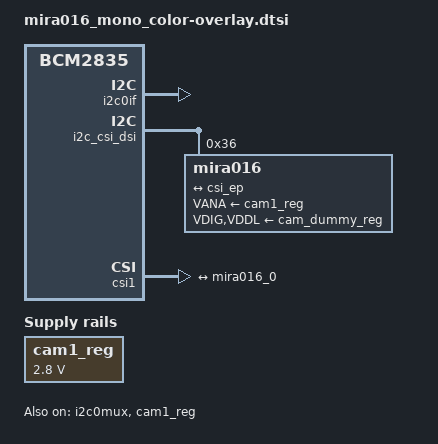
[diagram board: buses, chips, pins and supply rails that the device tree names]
// SPDX-License-Identifier: GPL-2.0-only
// Definitions for MIRA016 camera module on VC I2C bus
/dts-v1/;
/plugin/;

#include <dt-bindings/gpio/gpio.h>

/{
	compatible = "brcm,bcm2835";

	fragment@0 {
		target = <&i2c0if>;
		__overlay__ {
			status = "okay";
		};
	};

	clk_frag: fragment@1 {
		target = <&cam1_clk>;
		__overlay__ {
			status = "okay";
			clock-frequency = <24000000>;
		};
	};

	fragment@2 {
		target = <&i2c0mux>;
		__overlay__ {
			status = "okay";
		};
	};

	fragment@5 {
		target = <&cam1_reg>;
		__overlay__ {
			status = "okay";
			regulator-name = "mira016_vana";
			regulator-min-microvolt = <2800000>;
			regulator-max-microvolt = <2800000>;
		};
	};

	i2c_frag: fragment@100 {
		target = <&i2c_csi_dsi>;
		__overlay__ {
			#address-cells = <1>;
			#size-cells = <0>;
			status = "okay";

			mira016: mira016@36 {
				// compatible = "ams,mira016";
				// I2C addresses (7-bit address)
				// The interface board uses 0x36 by default
				// MIRA016CSP: 0x36; PMIC: 0x2D; INA3221: 0x40; LM2759: 0x53;
				// dsPIC33EP32MC503: 0x0A
				reg = <0x36>;
				// reg-names = "mira016";
				status = "okay";

				//clocks = <&mira016_clk>;
				clocks = <&cam1_clk>;
				clock-names = "xclk";

				// TODO(jalv): Add here camera supplies based on the
				// TPS65912 pmic.
				VANA-supply = <&cam1_reg>;	/* 2.8v */
				VDIG-supply = <&cam_dummy_reg>;	/* 1.8v */
				VDDL-supply = <&cam_dummy_reg>;	/* 1.2v */

				// FIXME(jalv): Make sure orientation is correct
				rotation = <0>;
				orientation = <2>;
				skip-reg-upload = <0>;

				port {
					mira016_0: endpoint {
						remote-endpoint = <&csi_ep>;
						clock-lanes = <0>;
						data-lanes = <1>;
						// clock-noncontinuous; // mira016 reg seq use continuous clk
						link-frequencies =
							/bits/ 64 <456000000>;
					};
				};
	
			};
		};
	};

	csi_frag: fragment@101 {
		target = <&csi1>;
		csi: __overlay__ {
			status = "okay";
			brcm,media-controller;

			port {
				csi_ep: endpoint {
					remote-endpoint = <&mira016_0>;
					clock-lanes = <0>;
					data-lanes = <1>;
					// clock-noncontinuous; // mira016 reg seq use continous clk
				};
			};
		};
	};

	__overrides__ {
		rotation = <&mira016>,"rotation:0";
		orientation = <&mira016>,"orientation:0";
		skip-reg-upload = <&mira016>,"skip-reg-upload:0";
		media-controller = <&csi>,"brcm,media-controller?";
		cam0 = <&i2c_frag>, "target:0=",<&i2c_csi_dsi0>,
		       <&csi_frag>, "target:0=",<&csi0>,
		       <&clk_frag>, "target:0=",<&cam0_clk>,
		       <&mira016>, "clocks:0=",<&cam0_clk>,
		       <&mira016>, "VANA-supply:0=",<&cam0_reg>;
	};
};
